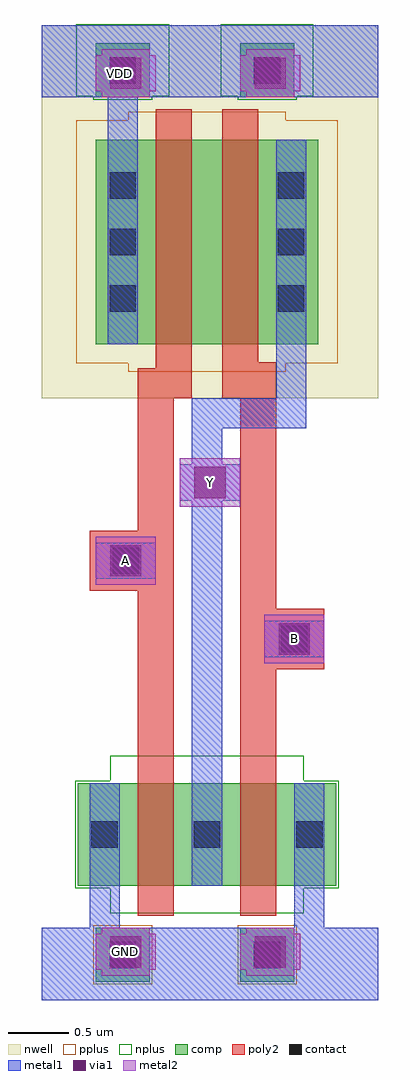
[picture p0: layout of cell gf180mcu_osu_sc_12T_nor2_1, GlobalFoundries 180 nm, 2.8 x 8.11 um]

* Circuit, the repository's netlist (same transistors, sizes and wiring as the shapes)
.inc "../../char/techfiles/design.hspice"
.lib "../../char/techfiles/sm141064.hspice" typical

.GLOBAL VDD
.GLOBAL GND

.option scale=0.05u

.subckt gf180mcu_osu_sc_12T_nor2_1 A Y B
X0 Y B a_25_106 VDD pmos_3p3 w=34 l=6
X1 a_25_106 A VDD VDD pmos_3p3 w=34 l=6
X2 Y A GND GND nmos_3p3 w=17 l=6
X3 GND B Y GND nmos_3p3 w=17 l=6
.ends

** hspice subcircuit dictionary

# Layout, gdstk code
import gdstk
lib = gdstk.Library(unit=1e-6, precision=1e-09)
def R(c, l, rs):  # rectangles x0, y0, x1, y1
    for r in rs: c.add(gdstk.rectangle(r[:2], r[2:], *l))
def A(c, l, x, y, w, h, nx, ny, dx, dy):  # array of equal rectangles
    R(c, l, [(x+i*dx, y+j*dy, x+i*dx+w, y+j*dy+h) for i in range(nx) for j in range(ny)])
nwell = (21, 0)
comp = (22, 0)
poly2 = (30, 0)
pplus = (31, 0)
nplus = (32, 0)
contact = (33, 0)
metal1 = (34, 0)
via1 = (35, 0)
metal2 = (36, 0)

gf180mcu_osu_sc_12t_nor2 = lib.new_cell('gf180mcu_osu_sc_12T_nor2_1')
R(gf180mcu_osu_sc_12t_nor2, nwell, [(0,4.85,2.8,7.95)])
R(gf180mcu_osu_sc_12t_nor2, comp, [(0.45,0,0.9,0.45), (1.65,0,2.1,0.45), (0.3,0.8,2.45,1.65), (0.45,5.3,2.3,7), (0.45,7.35,0.9,7.8), (1.65,7.35,2.1,7.8)])
R(gf180mcu_osu_sc_12t_nor2, poly2, [(0.8,0.55,1.1,3.25), (1.65,0.55,1.95,2.6), (1.65,2.6,2.35,3.1), (1.65,3.1,1.95,4.85), (0.4,3.25,1.1,3.75), (0.8,3.75,1.1,4.85), (0.8,4.85,1.25,5.1), (1.5,4.85,1.95,5.15), (0.95,5.1,1.25,7.25), (1.5,5.15,1.8,7.25)])
R(gf180mcu_osu_sc_12t_nor2, pplus, [(0.43,-0.02,0.92,0.47), (1.63,-0.02,2.12,0.47), (0.72,5.07,2.03,5.14), (0.29,5.14,2.46,7.16), (0.72,7.16,2.03,7.23)])
R(gf180mcu_osu_sc_12t_nor2, nplus, [(0.57,0.57,2.18,0.78), (0.28,0.78,2.47,1.67), (0.57,1.67,2.18,1.88), (0.43,7.33,0.92,7.36), (1.63,7.33,2.12,7.36), (0.29,7.36,1.06,7.96), (1.49,7.36,2.26,7.96)])
A(gf180mcu_osu_sc_12t_nor2, contact, 0.415, 1.115, 0.22, 0.22, 3, 1, 0.85, 0)
A(gf180mcu_osu_sc_12t_nor2, contact, 0.565, 5.57, 0.22, 0.22, 1, 3, 0, 0.47)
A(gf180mcu_osu_sc_12t_nor2, contact, 1.965, 5.57, 0.22, 0.22, 1, 3, 0, 0.47)
R(gf180mcu_osu_sc_12t_nor2, contact, [(0.565,0.115,0.785,0.335), (1.765,0.115,1.985,0.335), (1.99,2.74,2.21,2.96), (0.59,3.39,0.81,3.61), (0.565,7.465,0.785,7.685), (1.765,7.465,1.985,7.685)])
R(gf180mcu_osu_sc_12t_nor2, metal1, [(0,-0.15,2.8,0.45), (0.4,0.45,0.65,1.65), (2.1,0.45,2.35,1.65), (1.25,0.8,1.5,4), (1.85,2.7,2.35,3), (0.45,3.35,0.95,3.65), (1.15,4,1.65,4.3), (1.25,4.3,1.5,4.6), (1.25,4.6,2.2,4.85), (1.95,4.85,2.2,7), (0.55,5.3,0.8,7.35), (0,7.35,2.8,7.95)])
R(gf180mcu_osu_sc_12t_nor2, via1, [(0.57,0.12,0.83,0.38), (1.77,0.12,2.03,0.38), (1.97,2.72,2.23,2.98), (0.57,3.37,0.83,3.63), (1.27,4.02,1.53,4.28), (0.57,7.42,0.83,7.68), (1.77,7.42,2.03,7.68)])
R(gf180mcu_osu_sc_12t_nor2, metal2, [(0.5,0.05,0.9,0.1), (1.7,0.05,2.1,0.1), (0.45,0.1,0.95,0.4), (1.65,0.1,2.15,0.4), (0.5,0.4,0.9,0.45), (1.7,0.4,2.1,0.45), (1.85,2.65,2.35,3.05), (0.45,3.3,0.95,3.7), (1.15,3.95,1.65,4.35), (0.5,7.35,0.9,7.4), (1.7,7.35,2.1,7.4), (0.45,7.4,0.95,7.7), (1.65,7.4,2.15,7.7), (0.5,7.7,0.9,7.75), (1.7,7.7,2.1,7.75)])
gf180mcu_osu_sc_12t_nor2.add(gdstk.Label('VDD', (0.65,7.55), layer=36, texttype=0))
gf180mcu_osu_sc_12t_nor2.add(gdstk.Label('GND', (0.7,0.25), layer=36, texttype=0))
gf180mcu_osu_sc_12t_nor2.add(gdstk.Label('A', (0.7,3.5), layer=36, texttype=10))
gf180mcu_osu_sc_12t_nor2.add(gdstk.Label('Y', (1.4,4.15), layer=36, texttype=10))
gf180mcu_osu_sc_12t_nor2.add(gdstk.Label('B', (2.1,2.85), layer=36, texttype=10))

lib.write_gds('gf180mcu_osu_sc_12T_nor2_1.gds')
